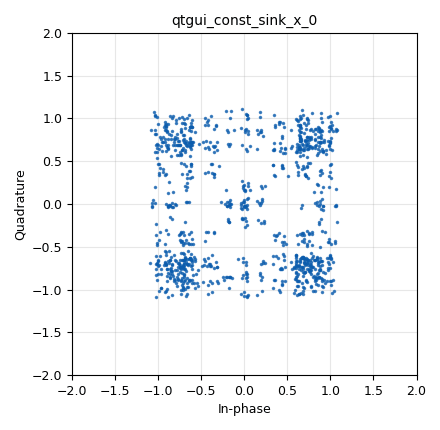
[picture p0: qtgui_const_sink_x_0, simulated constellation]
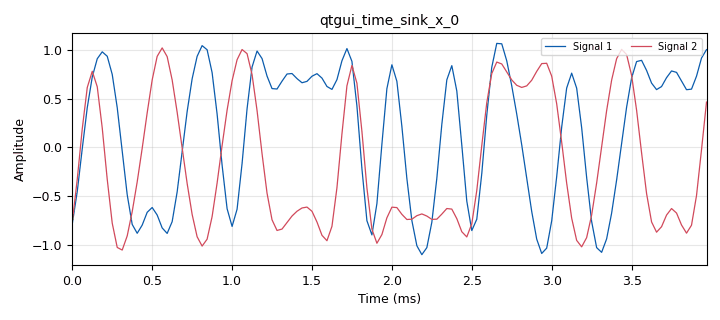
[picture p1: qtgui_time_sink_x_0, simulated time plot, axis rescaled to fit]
options:
  parameters:
    generate_options: qt_gui
    id: QPSK_Tx
    output_language: python
    title: Not titled yet
  states: {}

blocks:
- name: d
  id: variable
  parameters:
    value: '13'
  states: {}
- name: delay
  id: variable_qtgui_range
  parameters:
    comment: 0,3,1,1
    gui_hint: 0,3,1,1
    label: Delay
    start: '0'
    step: '1'
    stop: '200'
    value: '50'
  states: {}
- name: excess_bw
  id: variable
  parameters:
    value: '0.35'
  states: {}
- name: fftgr
  id: variable
  parameters:
    value: 2**d
  states: {}
- name: freq_offset
  id: variable_qtgui_range
  parameters:
    comment: 0,2,1,1
    gui_hint: 0,2,1,1
    label: 'Channel: Frequency Offset'
    start: '-0.1'
    step: '0.001'
    stop: '0.1'
    value: '0.025'
  states: {}
- name: nfilts
  id: variable
  parameters:
    value: '32'
  states: {}
- name: noise_volt
  id: variable_qtgui_range
  parameters:
    comment: 0,0,1,1
    gui_hint: 0,0,1,1
    label: 'Channel: Noise Voltage'
    start: '0'
    step: '0.01'
    stop: '1'
    value: '0.2'
  states: {}
- name: phase_bw
  id: variable
  parameters:
    value: '0.0628'
  states: {}
- name: qpsk
  id: variable_constellation_rect
  parameters:
    const_points: '[0.707+0.707j, -0.707+0.707j, -0.707-0.707j, 0.707-0.707j]'
    imag_sect: '2'
    real_sect: '2'
    rot_sym: '4'
    sym_map: '[0, 1, 2, 3]'
    w_imag_sect: '1'
    w_real_sect: '1'
  states: {}
- name: rrc_taps
  id: variable
  parameters:
    value: firdes.root_raised_cosine(nfilts, nfilts, 1.0/float(sps), 0.35, 11*sps*nfilts)
  states: {}
- name: samp_rate
  id: variable
  parameters:
    value: '32000'
  states: {}
- name: seqlen
  id: variable
  parameters:
    value: (2**d)-1
  states: {}
- name: sps
  id: variable
  parameters:
    value: '4'
  states: {}
- name: time_offset
  id: variable_qtgui_range
  parameters:
    comment: 0,1,1,1
    gui_hint: 0,1,1,1
    label: 'Channel: Timing Offset'
    start: '0.999'
    step: '0.0001'
    stop: '1.001'
    value: '1.0005'
  states: {}
- name: variable_adaptive_algorithm_0
  id: variable_adaptive_algorithm
  parameters:
    cons: qpsk
    modulus: '4'
    step_size: '.0001'
    type: cma
  states: {}
- name: variable_qtgui_label_0
  id: variable_qtgui_label
  parameters:
    label: Number_Sync
    type: raw
    value: '0'
  states: {}
- name: analog_const_source_x_0
  id: analog_const_source_x
  parameters:
    const: '0'
    type: byte
  states: {}
- name: audio_sink_1
  id: audio_sink
  parameters:
    samp_rate: samp_rate
  states: {}
- name: audio_sink_1_0
  id: audio_sink
  parameters:
    samp_rate: samp_rate
  states: {}
- name: blocks_complex_to_float_0
  id: blocks_complex_to_float
  parameters: {}
  states: {}
- name: blocks_complex_to_float_1
  id: blocks_complex_to_float
  parameters: {}
  states: {}
- name: blocks_pack_k_bits_bb_0_0
  id: blocks_pack_k_bits_bb
  parameters:
    k: '8'
  states: {}
- name: blocks_stream_mux_0
  id: blocks_stream_mux
  parameters:
    lengths: (seqlen, 1)
    type: byte
  states: {}
- name: blocks_throttle2_0
  id: blocks_throttle2
  parameters:
    samples_per_second: samp_rate
    type: complex
  states: {}
- name: digital_constellation_modulator_0
  id: digital_constellation_modulator
  parameters:
    constellation: qpsk
    differential: 'True'
    excess_bw: excess_bw
    samples_per_symbol: sps
  states: {}
- name: digital_glfsr_source_x_0
  id: digital_glfsr_source_x
  parameters:
    degree: d
    mask: '0'
    repeat: 'True'
    seed: '1'
    type: byte
  states: {}
- name: qtgui_const_sink_x_0
  id: qtgui_const_sink_x
  parameters:
    gui_hint: 1,0,1,2
    size: '1024'
    type: complex
  states: {}
- name: qtgui_time_sink_x_0
  id: qtgui_time_sink_x
  parameters:
    nconnections: '2'
    size: '128'
    srate: samp_rate
    type: float
  states: {}
- name: virtual_sink_2
  id: virtual_sink
  parameters:
    stream_id: t1
  states: {}

connections:
- [analog_const_source_x_0, '0', blocks_stream_mux_0, '1']
- [blocks_complex_to_float_0, '0', audio_sink_1, '0']
- [blocks_complex_to_float_0, '1', audio_sink_1_0, '0']
- [blocks_complex_to_float_1, '0', qtgui_time_sink_x_0, '0']
- [blocks_complex_to_float_1, '1', qtgui_time_sink_x_0, '1']
- [blocks_pack_k_bits_bb_0_0, '0', digital_constellation_modulator_0, '0']
- [blocks_stream_mux_0, '0', blocks_pack_k_bits_bb_0_0, '0']
- [blocks_stream_mux_0, '0', virtual_sink_2, '0']
- [blocks_throttle2_0, '0', blocks_complex_to_float_0, '0']
- [digital_constellation_modulator_0, '0', blocks_complex_to_float_1, '0']
- [digital_constellation_modulator_0, '0', blocks_throttle2_0, '0']
- [digital_constellation_modulator_0, '0', qtgui_const_sink_x_0, '0']
- [digital_glfsr_source_x_0, '0', blocks_stream_mux_0, '0']

metadata:
  file_format: 1
  grc_version: 3.10.8.0
